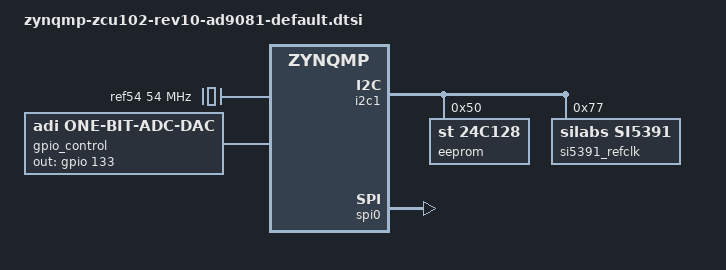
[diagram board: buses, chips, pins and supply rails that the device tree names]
// SPDX-License-Identifier: GPL-2.0
/*
 * Analog Devices AD9081-FMC-EBZ
 * https://wiki.analog.com/resources/tools-software/linux-drivers/iio-mxfe/ad9081
 * https://wiki.analog.com/resources/eval/user-guides/ad9081_fmca_ebz/ad9081_fmca_ebz_hdl
 *
 * Copyright (C) 2019-2020 Analog Devices Inc.
 */

#include "zynqmp-zcu102-rev1.0.dts"
#include <dt-bindings/interrupt-controller/irq.h>
#include <dt-bindings/iio/adc/adi,ad9081.h>
#include <dt-bindings/jesd204/adxcvr.h>

&i2c1 {
	i2c-mux@75 {
		i2c@1 { /* HPC1 */
			#address-cells = <1>;
			#size-cells = <0>;
			reg = <1>;
			/* HPC1_IIC */
			eeprom@50 {
				compatible = "st,24c128", "atmel,24c128";
				reg = <0x50>;
			};

			/* HPC1 - FMC+ Crossover Cable */
			/* Si5391A Clock Generator on FMC+ crossover ribbon cable */
			// 1_1_1_0_1_A1_A0 = 0x74 to 0x77, but A1A0 are missing R18,R20 to be connected to +3.3V_B
			si5391_refclk: clock-generator@77 {
				compatible = "silabs,si5391";
				reg = <0x77>;  /* I2C address */

				#clock-cells = <2>;
				#address-cells = <1>;
				#size-cells = <0>;
				clocks = <&ref54>;
				clock-names = "xtal";
				clock-output-names = "si5391";

				silabs,pll-m-num = <8000>; /* PLL at 14.4 GHz with 54MHz input */
				silabs,pll-m-den = <30>;    /* 54MHz * (8000/30) = 14.4 GHz = 266.666... ratio */
				//silabs,reprogram; /* Chips are not programmed, always reset */
				//silabs,xaxb-ext-clk; /*When present, indicates that the XA/XB pins are used in EXTCLK (external reference clock) rather than XTAL (crystal) mode.*/
				/*
				 * OUT0A is index 0
				 * OUT0 is index 1
				 * OUT1 is index 2
				 * OUT2 is index 3
				 * OUT3 is index 4
				 * OUT4 is index 5
				 * OUT5 is index 6
				 * OUT6 is index 7
				 * OUT7 is index 8
				 * OUT8 is index 9 - FMCB
				 * OUT9 is index 10 - FMCA
				 * OUT9A is index 11
				 */
				si5391_out9: out@10 {
					reg = <10>;
					//silabs,format = <1>; /* LVDS 1v8 */
					//silabs,common-mode = <13>;
					//silabs,amplitude = <3>;
					clock-frequency = <200000000>;
					always-on;
				};

				/* 100MHz for VCK190 */
				si5391_out8: out@9 {
					reg = <9>;
					//silabs,format = <1>; /* LVDS 1v8 */
					//silabs,common-mode = <13>;
					//silabs,amplitude = <3>;
					clock-frequency = <100000000>;
					always-on;
				};
			};
		};
	};
};

/ {
	clocks {
		fixed_400: clock@2 {
			#clock-cells = <0>;
			compatible = "fixed-clock";
			clock-frequency = <400000000>;
			clock-output-names = "fixed_400";
		};

		ref54: clock@3 {
		    #clock-cells = <0>;
		    compatible = "fixed-clock";
		    clock-frequency = <54000000>;  /* 54 MHz */
		    clock-output-names = "ref54";
		};

		fixed_100: clock@4 {
			#clock-cells = <0>;
			compatible = "fixed-clock";
			clock-frequency = <100000000>;
			clock-output-names = "fixed_100";
		};
	};

	gpio_control@0 {
		compatible = "adi,one-bit-adc-dac";
		#address-cells = <1>;
		#size-cells = <0>;

		out-gpios = <&gpio 133 0>;
		label = "gpio_control";

		channel@0 {
			reg = <0>;
			label = "rstb";
		};
	};

	fpga_axi: fpga-axi@0 {
		interrupt-parent = <&gic>;
		compatible = "simple-bus";
		#address-cells = <0x1>;
		#size-cells = <0x1>;
		ranges = <0 0 0 0xffffffff>;

		rx_dma: dma-controller@9c420000 {
			compatible = "adi,axi-dmac-1.00.a";
			reg = <0x9c420000 0x10000>;
			#dma-cells = <1>;
			#clock-cells = <0>;
			dma-coherent;
			interrupts = <0 109 IRQ_TYPE_LEVEL_HIGH>;
			clocks = <&zynqmp_clk 73>;
		};

		tx_dma: dma-controller@9c430000 {
			compatible = "adi,axi-dmac-1.00.a";
			reg = <0x9c430000 0x10000>;
			#dma-cells = <1>;
			#clock-cells = <0>;
			dma-coherent;
			interrupts = <0 108 IRQ_TYPE_LEVEL_HIGH>;
			clocks = <&zynqmp_clk 73>;
		};

		axi_ad9081_core_rx: axi-ad9081-rx-hpc@84a10000 {
			compatible = "adi,axi-ad9081-rx-1.0";
			reg = <0x84a10000 0x8000>;
			dmas = <&rx_dma 0>;
			dma-names = "rx";
			clocks = <&fixed_400>;
			clock-names = "sampl_clk";
		};

		axi_ad9081_core_tx: axi-ad9081-tx-hpc@84b10000 {
			compatible = "adi,axi-ad9081-tx-1.0";
			reg = <0x84b10000 0x4000>;
			dmas = <&tx_dma 0>;
			dma-names = "tx";
			clocks = <&fixed_400>;
			clock-names = "sampl_clk";
			adi,axi-data-offload-connected = <&axi_data_offload_tx>;
		};

		axi_ad9081_rx_jesd: axi-jesd204-rx@84a90000 {
			compatible = "adi,axi-jesd204-rx-1.0";
			reg = <0x84a90000 0x1000>;

			interrupts = <0 107 IRQ_TYPE_LEVEL_HIGH>;

			clocks = <&zynqmp_clk 71>, <&fixed_100>, <&fixed_100>, <&axi_ad9081_adxcvr_rx 0>;
			clock-names = "s_axi_aclk", "device_clk", "link_clk", "lane_clk";

			#clock-cells = <0>;
			clock-output-names = "jesd_rx_lane_clk";

			adi,octets-per-frame = <1>;
			adi,frames-per-multiframe = <256>;
		};

		axi_ad9081_tx_jesd: axi-jesd204-tx@84b90000 {
			compatible = "adi,axi-jesd204-tx-1.0";
			reg = <0x84b90000 0x1000>;

			interrupts = <0 106 IRQ_TYPE_LEVEL_HIGH>;

			clocks = <&zynqmp_clk 71>, <&fixed_100>, <&fixed_100>, <&axi_ad9081_adxcvr_tx 0>;
			clock-names = "s_axi_aclk", "device_clk", "link_clk", "lane_clk";

			#clock-cells = <0>;
			clock-output-names = "jesd_tx_lane_clk";

			adi,octets-per-frame = <1>;
			adi,frames-per-multiframe = <256>;
			adi,converter-resolution = <16>;
			adi,bits-per-sample = <16>;
			adi,converters-per-device = <8>;
			adi,control-bits-per-sample = <0>;
		};

		axi_ad9081_adxcvr_rx: axi-adxcvr-rx@84a60000 {
			#address-cells = <1>;
			#size-cells = <0>;
			compatible = "adi,axi-adxcvr-1.0";
			reg = <0x84a60000 0x1000>;
			// 0 - means i'm using output (1 - means synthesizer), and 10 is out9 <&si5391_refclk 0 10>
			clocks = <&si5391_refclk 0 10>, <&fixed_100>;
			clock-names = "conv", "div40";

			#clock-cells = <1>;
			clock-output-names = "rx_gt_clk", "rx_out_clk";

			adi,sys-clk-select = <XCVR_QPLL>;
			adi,out-clk-select = <XCVR_REFCLK>;
		};

		axi_ad9081_adxcvr_tx: axi-adxcvr-tx@84b60000 {
			#address-cells = <1>;
			#size-cells = <0>;
			compatible = "adi,axi-adxcvr-1.0";
			reg = <0x84b60000 0x1000>;
			// 0 - means i'm using output (1 - means synthesizer), and 10 is out9
			clocks = <&si5391_refclk 0 10>, <&fixed_100>;
			clock-names = "conv", "div40";

			#clock-cells = <1>;
			clock-output-names = "tx_gt_clk", "tx_out_clk";

			adi,sys-clk-select = <XCVR_QPLL>;
			adi,out-clk-select = <XCVR_REFCLK>;
		};

		axi_sysid_0: axi-sysid-0@85000000 {
			compatible = "adi,axi-sysid-1.00.a";
			reg = <0x85000000 0x10000>;
		};

		axi_data_offload_tx: axi-data-offload-0@9c440000 {
			compatible = "adi,axi-data-offload-1.0.a";
			reg = <0x9c440000 0x10000>;
		};

		axi_data_offload_rx: axi-data-offload-1@9c450000 {
			compatible = "adi,axi-data-offload-1.0.a";
			reg = <0x9c450000 0x10000>;
		};
	};
};

&spi0 {
	status = "okay";
};

#define fmc_spi spi0
